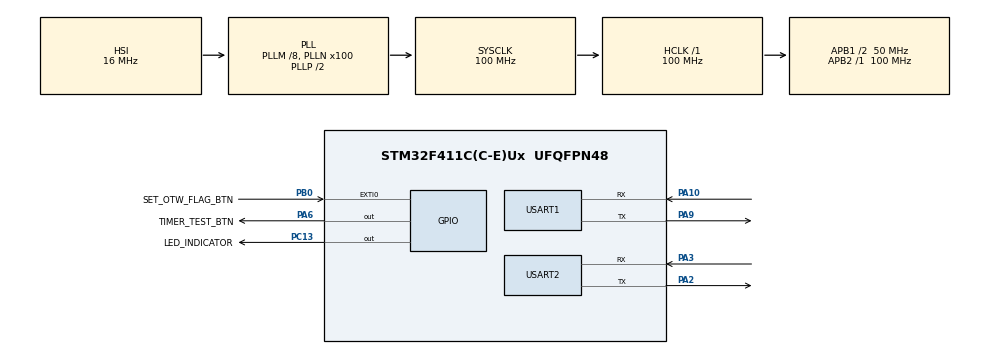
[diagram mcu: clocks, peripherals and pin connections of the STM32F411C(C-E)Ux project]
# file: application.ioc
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Mcu.Family=STM32F4
Mcu.Name=STM32F411C(C-E)Ux
Mcu.Package=UFQFPN48
NVIC.EXTI0_IRQn=true\:0\:0\:false\:false\:true\:true\:true\:true
NVIC.PriorityGroup=NVIC_PRIORITYGROUP_4
NVIC.TIM4_IRQn=true\:0\:0\:false\:false\:true\:true\:true\:true
NVIC.USART1_IRQn=true\:0\:0\:false\:false\:true\:true\:true\:true
NVIC.USART2_IRQn=true\:0\:0\:false\:false\:true\:true\:true\:true
PA10.Mode=Asynchronous
PA10.Signal=USART1_RX
PA13.Mode=Serial_Wire
PA13.Signal=SYS_JTMS-SWDIO
PA14.Mode=Serial_Wire
PA14.Signal=SYS_JTCK-SWCLK
PA2.Mode=Asynchronous
PA2.Signal=USART2_TX
PA3.Mode=Asynchronous
PA3.Signal=USART2_RX
PA6.GPIO_Label=TIMER_TEST_BTN
PA6.Signal=GPIO_Output
PA9.Mode=Asynchronous
PA9.Signal=USART1_TX
PB0.GPIO_Label=SET_OTW_FLAG_BTN
PB0.Signal=GPXTI0
PC13-ANTI_TAMP.GPIO_Label=LED_INDICATOR
PC13-ANTI_TAMP.GPIO_PuPd=GPIO_NOPULL
PC13-ANTI_TAMP.Signal=GPIO_Output
ProjectManager.HeapSize=0x200
ProjectManager.StackSize=0x400
ProjectManager.TargetToolchain=STM32CubeIDE
RCC.48MHZClocksFreq_Value=50000000
RCC.AHBFreq_Value=100000000
RCC.APB1CLKDivider=RCC_HCLK_DIV2
RCC.APB1Freq_Value=50000000
RCC.APB1TimFreq_Value=100000000
RCC.APB2Freq_Value=100000000
RCC.APB2TimFreq_Value=100000000
RCC.CortexFreq_Value=100000000
RCC.HCLKFreq_Value=100000000
RCC.HSE_VALUE=25000000
RCC.HSI_VALUE=16000000
RCC.LSE_VALUE=32768
RCC.PLLM=8
RCC.PLLN=100
RCC.SYSCLKFreq_VALUE=100000000
RCC.SYSCLKSource=RCC_SYSCLKSOURCE_PLLCLK
RCC.VCOOutputFreq_Value=200000000
TIM4.AutoReloadPreload=TIM_AUTORELOAD_PRELOAD_ENABLE
TIM4.Period=49999
TIM4.Prescaler=99
USART1.VirtualMode=VM_ASYNC
USART2.VirtualMode=VM_ASYNC
VP_TIM4_VS_ClockSourceINT.Mode=Internal
VP_TIM4_VS_OPM.Mode=OPM_bit
board=custom

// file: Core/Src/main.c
/* USER CODE BEGIN Header */
/**
 ******************************************************************************
 * @file           : main.c
 * @brief          : Main program body
 ******************************************************************************
 * @attention
 *
 * Copyright (c) 2026 STMicroelectronics.
 * All rights reserved.
 *
 * This software is licensed under terms that can be found in the LICENSE file
 * in the root directory of this software component.
 * If no LICENSE file comes with this software, it is provided AS-IS.
 *
 ******************************************************************************
 */
/* USER CODE END Header */
#include "main.h"

/* USER CODE BEGIN Includes */
#include <stdio.h>
#include <string.h>

#include "app_header.h"
#include "flash/operations.h"
#include "flash_layout.h"

#include "custom_logger.h"

#include "updates/otw_packet_parser.h"
#include "updates/otw_uart_receiver.h"
#include "updates/otw_update.h"

// my stuff
#include "uart_update/update_packet_parser.h"

/* USER CODE END Includes */

TIM_HandleTypeDef htim4;

UART_HandleTypeDef huart1;
UART_HandleTypeDef huart2;

void SystemClock_Config(void);
static void MX_GPIO_Init(void);
static void MX_USART1_UART_Init(void);
static void MX_USART2_UART_Init(void);
static void MX_TIM4_Init(void);

/* USER CODE BEGIN 0 */

 static uint32_t last_press = 0;
 uint32_t last_blink = 0;

char huart2_rx_buffer;

struct update_packet_parser_t packet_parser;

void update_packet_parser_tx_cb(const uint8_t *flag);

/* USER CODE END 0 */

int main(void) {

  /* MCU Configuration--------------------------------------------------------*/

  /* Reset of all peripherals, Initializes the Flash interface and the Systick.
   */
  HAL_Init();

  /* Configure the system clock */
  SystemClock_Config();

  /* Initialize all configured peripherals */
  MX_GPIO_Init();
  MX_USART1_UART_Init();
  MX_USART2_UART_Init();
  MX_TIM4_Init();
  /* USER CODE BEGIN 2 */

  /* initializations */
  custom_logger_init(&huart1);
  update_packet_parser_init(&packet_parser, &huart2, &htim4,
                            update_packet_parser_tx_cb);

  custom_logger_log("\nHello from application v2\n");

  /* USER CODE END 2 */

  /* Infinite loop */
  /* USER CODE BEGIN WHILE */
  enum otw_parse_result_t result;

  while (1) {
    /* USER CODE END WHILE */

    /* USER CODE BEGIN 3 */

    if (update_packet_parser_parse_and_process(&packet_parser)) {
      // custom_logger_log("Received a chunk\r\n");
    }

    if (HAL_GetTick() - last_blink >= 100) {
      last_blink = HAL_GetTick();

      HAL_GPIO_TogglePin(LED_INDICATOR_GPIO_Port, LED_INDICATOR_Pin);
    }
  }
  /* USER CODE END 3 */
}

void SystemClock_Config(void) {
  RCC_OscInitTypeDef RCC_OscInitStruct = {0};
  RCC_ClkInitTypeDef RCC_ClkInitStruct = {0};

  /** Configure the main internal regulator output voltage
   */
  __HAL_RCC_PWR_CLK_ENABLE();
  __HAL_PWR_VOLTAGESCALING_CONFIG(PWR_REGULATOR_VOLTAGE_SCALE1);

  /** Initializes the RCC Oscillators according to the specified parameters
   * in the RCC_OscInitTypeDef structure.
   */
  RCC_OscInitStruct.OscillatorType = RCC_OSCILLATORTYPE_HSI;
  RCC_OscInitStruct.HSIState = RCC_HSI_ON;
  RCC_OscInitStruct.HSICalibrationValue = RCC_HSICALIBRATION_DEFAULT;
  RCC_OscInitStruct.PLL.PLLState = RCC_PLL_ON;
  RCC_OscInitStruct.PLL.PLLSource = RCC_PLLSOURCE_HSI;
  RCC_OscInitStruct.PLL.PLLM = 8;
  RCC_OscInitStruct.PLL.PLLN = 100;
  RCC_OscInitStruct.PLL.PLLP = RCC_PLLP_DIV2;
  RCC_OscInitStruct.PLL.PLLQ = 4;
  if (HAL_RCC_OscConfig(&RCC_OscInitStruct) != HAL_OK) {
    Error_Handler();
  }

  /** Initializes the CPU, AHB and APB buses clocks
   */
  RCC_ClkInitStruct.ClockType = RCC_CLOCKTYPE_HCLK | RCC_CLOCKTYPE_SYSCLK |
                                RCC_CLOCKTYPE_PCLK1 | RCC_CLOCKTYPE_PCLK2;
  RCC_ClkInitStruct.SYSCLKSource = RCC_SYSCLKSOURCE_PLLCLK;
  RCC_ClkInitStruct.AHBCLKDivider = RCC_SYSCLK_DIV1;
  RCC_ClkInitStruct.APB1CLKDivider = RCC_HCLK_DIV2;
  RCC_ClkInitStruct.APB2CLKDivider = RCC_HCLK_DIV1;

  if (HAL_RCC_ClockConfig(&RCC_ClkInitStruct, FLASH_LATENCY_3) != HAL_OK) {
    Error_Handler();
  }
}

static void MX_TIM4_Init(void) {

  TIM_ClockConfigTypeDef sClockSourceConfig = {0};
  TIM_MasterConfigTypeDef sMasterConfig = {0};

  htim4.Instance = TIM4;
  htim4.Init.Prescaler = 99;
  htim4.Init.CounterMode = TIM_COUNTERMODE_UP;
  htim4.Init.Period = 49999;
  htim4.Init.ClockDivision = TIM_CLOCKDIVISION_DIV1;
  htim4.Init.AutoReloadPreload = TIM_AUTORELOAD_PRELOAD_ENABLE;
  if (HAL_TIM_Base_Init(&htim4) != HAL_OK) {
    Error_Handler();
  }
  sClockSourceConfig.ClockSource = TIM_CLOCKSOURCE_INTERNAL;
  if (HAL_TIM_ConfigClockSource(&htim4, &sClockSourceConfig) != HAL_OK) {
    Error_Handler();
  }
  if (HAL_TIM_OnePulse_Init(&htim4, TIM_OPMODE_SINGLE) != HAL_OK) {
    Error_Handler();
  }
  sMasterConfig.MasterOutputTrigger = TIM_TRGO_RESET;
  sMasterConfig.MasterSlaveMode = TIM_MASTERSLAVEMODE_DISABLE;
  if (HAL_TIMEx_MasterConfigSynchronization(&htim4, &sMasterConfig) != HAL_OK) {
    Error_Handler();
  }
}

static void MX_USART1_UART_Init(void) {

  huart1.Instance = USART1;
  huart1.Init.BaudRate = 115200;
  huart1.Init.WordLength = UART_WORDLENGTH_8B;
  huart1.Init.StopBits = UART_STOPBITS_1;
  huart1.Init.Parity = UART_PARITY_NONE;
  huart1.Init.Mode = UART_MODE_TX_RX;
  huart1.Init.HwFlowCtl = UART_HWCONTROL_NONE;
  huart1.Init.OverSampling = UART_OVERSAMPLING_16;
  if (HAL_UART_Init(&huart1) != HAL_OK) {
    Error_Handler();
  }
}

static void MX_USART2_UART_Init(void) {

  huart2.Instance = USART2;
  huart2.Init.BaudRate = 115200;
  huart2.Init.WordLength = UART_WORDLENGTH_8B;
  huart2.Init.StopBits = UART_STOPBITS_1;
  huart2.Init.Parity = UART_PARITY_NONE;
  huart2.Init.Mode = UART_MODE_TX_RX;
  huart2.Init.HwFlowCtl = UART_HWCONTROL_NONE;
  huart2.Init.OverSampling = UART_OVERSAMPLING_16;
  if (HAL_UART_Init(&huart2) != HAL_OK) {
    Error_Handler();
  }
}

static void MX_GPIO_Init(void) {
  GPIO_InitTypeDef GPIO_InitStruct = {0};

  /* GPIO Ports Clock Enable */
  __HAL_RCC_GPIOC_CLK_ENABLE();
  __HAL_RCC_GPIOA_CLK_ENABLE();
  __HAL_RCC_GPIOB_CLK_ENABLE();

  /*Configure GPIO pin Output Level */
  HAL_GPIO_WritePin(LED_INDICATOR_GPIO_Port, LED_INDICATOR_Pin, GPIO_PIN_RESET);

  /*Configure GPIO pin Output Level */
  HAL_GPIO_WritePin(TIMER_TEST_BTN_GPIO_Port, TIMER_TEST_BTN_Pin,
                    GPIO_PIN_RESET);

  /*Configure GPIO pin : LED_INDICATOR_Pin */
  GPIO_InitStruct.Pin = LED_INDICATOR_Pin;
  GPIO_InitStruct.Mode = GPIO_MODE_OUTPUT_PP;
  GPIO_InitStruct.Pull = GPIO_NOPULL;
  GPIO_InitStruct.Speed = GPIO_SPEED_FREQ_LOW;
  HAL_GPIO_Init(LED_INDICATOR_GPIO_Port, &GPIO_InitStruct);

  /*Configure GPIO pin : TIMER_TEST_BTN_Pin */
  GPIO_InitStruct.Pin = TIMER_TEST_BTN_Pin;
  GPIO_InitStruct.Mode = GPIO_MODE_OUTPUT_PP;
  GPIO_InitStruct.Pull = GPIO_NOPULL;
  GPIO_InitStruct.Speed = GPIO_SPEED_FREQ_LOW;
  HAL_GPIO_Init(TIMER_TEST_BTN_GPIO_Port, &GPIO_InitStruct);

  /*Configure GPIO pin : SET_OTW_FLAG_BTN_Pin */
  GPIO_InitStruct.Pin = SET_OTW_FLAG_BTN_Pin;
  GPIO_InitStruct.Mode = GPIO_MODE_IT_RISING;
  GPIO_InitStruct.Pull = GPIO_NOPULL;
  HAL_GPIO_Init(SET_OTW_FLAG_BTN_GPIO_Port, &GPIO_InitStruct);

  /* EXTI interrupt init*/
  HAL_NVIC_SetPriority(EXTI0_IRQn, 0, 0);
  HAL_NVIC_EnableIRQ(EXTI0_IRQn);

}

/* USER CODE BEGIN 4 */

void HAL_GPIO_EXTI_Callback(uint16_t GPIO_Pin) {
  if (HAL_GetTick() - last_press > 100) {
    last_press = HAL_GetTick();
    // Flash_Erase_Sectors(FLASH_SECTOR_2, 2);
    custom_logger_log("Button clicked\n");
    HAL_GPIO_WritePin(TIMER_TEST_BTN_GPIO_Port, TIMER_TEST_BTN_Pin, 1);
  }
}

void HAL_UART_RxCpltCallback(UART_HandleTypeDef *huart) {
  update_packet_parser_uart_callback(&packet_parser, huart);
}

void HAL_UARTEx_RxEventCallback(UART_HandleTypeDef *huart, uint16_t Size) {}

void HAL_TIM_PeriodElapsedCallback(TIM_HandleTypeDef *htim) {
  // otw_packet_parser_timeout_callback(&parser, htim);

  update_packet_parser_tim_callback(&packet_parser, htim);
}

void update_packet_parser_tx_cb(const uint8_t *flag) {
  HAL_UART_Transmit_IT(packet_parser.huart, flag, 1);
}

/* USER CODE END 4 */

void Error_Handler(void) {
  /* USER CODE BEGIN Error_Handler_Debug */
  /* User can add his own implementation to report the HAL error return state
   */
  __disable_irq();
  while (1) {
  }
  /* USER CODE END Error_Handler_Debug */
}
#ifdef USE_FULL_ASSERT
/**
 * @brief  Reports the name of the source file and the source line number
 *         where the assert_param error has occurred.
 * @param  file: pointer to the source file name
 * @param  line: assert_param error line source number
 * @retval None
 */
void assert_failed(uint8_t *file, uint32_t line) {
  /* USER CODE BEGIN 6 */
  /* User can add his own implementation to report the file name and line
     number, ex: printf("Wrong parameters value: file %s on line %d\r\n", file,
     line) */
  /* USER CODE END 6 */
}
#endif /* USE_FULL_ASSERT */
